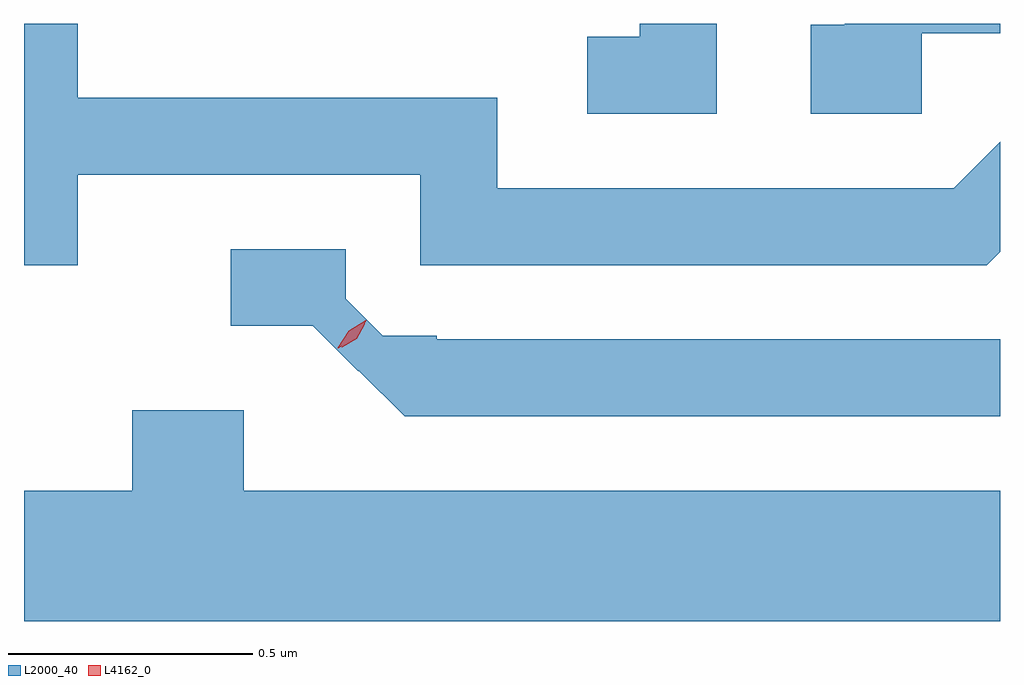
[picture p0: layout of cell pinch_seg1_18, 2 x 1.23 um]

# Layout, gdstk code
import gdstk
lib = gdstk.Library(unit=1e-6, precision=1e-09)
def P(c, l, *ps):  # polygons
    for p in ps: c.add(gdstk.Polygon(p, *l))
L2000_40 = (2000, 40)
L4162_0 = (4162, 0)

pinch_seg1_18 = lib.new_cell('pinch_seg1_18')
P(pinch_seg1_18, L2000_40, [(1766.769,947.401),(1766.929,947.401),(1766.929,947.421),(1766.611,947.421),(1766.611,947.419),(1766.541,947.419),(1766.541,947.236),(1766.769,947.236)],
  [(1766.349,947.421),(1766.191,947.421),(1766.191,947.394),(1766.083,947.394),(1766.083,947.236),(1766.349,947.236)],
  [(1765.039,947.111),(1765.741,947.111),(1765.741,946.926),(1766.902,946.926),(1766.929,946.953),(1766.929,947.179),(1766.834,947.084),(1765.899,947.084),(1765.899,947.269),(1765.039,947.269),(1765.039,947.421),(1764.929,947.421),(1764.929,946.926),(1765.039,946.926)],
  [(1766.929,946.774),(1765.775,946.774),(1765.775,946.781),(1765.664,946.781),(1765.588,946.857),(1765.588,946.959),(1765.353,946.959),(1765.353,946.802),(1765.521,946.802),(1765.614,946.709),(1765.615,946.71),(1765.709,946.616),(1766.929,946.616)],
  [(1766.929,946.464),(1765.379,946.464),(1765.379,946.629),(1765.151,946.629),(1765.151,946.464),(1764.929,946.464),(1764.929,946.196),(1766.929,946.196)])
P(pinch_seg1_18, L4162_0, [(1765.572,946.756),(1765.572,946.757),(1765.594,946.792),(1765.629,946.813),(1765.63,946.813),(1765.63,946.812),(1765.608,946.777),(1765.573,946.756)],
  [(1765.58,946.758),(1765.58,946.759),(1765.596,946.789),(1765.626,946.806),(1765.627,946.806),(1765.627,946.805),(1765.611,946.775),(1765.581,946.758)])

lib.write_gds('pinch_seg1_18.gds')
